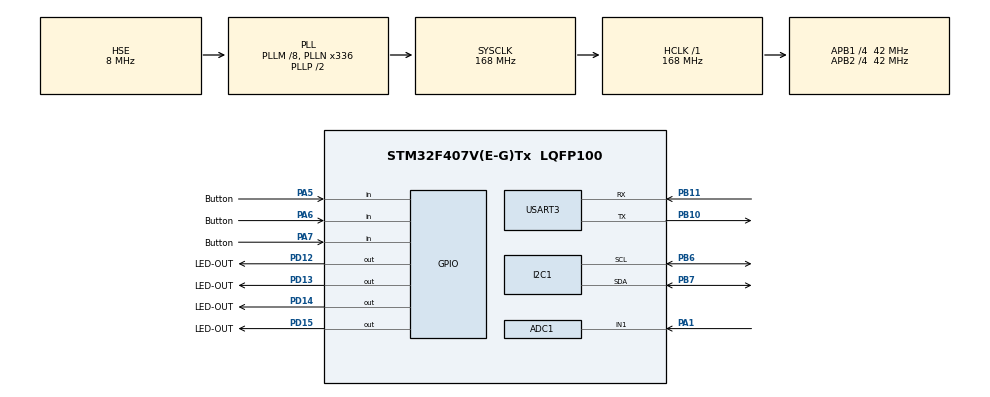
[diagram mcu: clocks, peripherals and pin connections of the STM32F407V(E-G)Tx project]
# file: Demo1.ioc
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ADC1.Channel-0\#ChannelRegularConversion=ADC_CHANNEL_1
ADC1.ClockPrescaler=ADC_CLOCK_SYNC_PCLK_DIV2
ADC1.ContinuousConvMode=DISABLE
ADC1.DMAContinuousRequests=DISABLE
ADC1.DataAlign=ADC_DATAALIGN_RIGHT
ADC1.DiscontinuousConvMode=DISABLE
ADC1.EOCSelection=ADC_EOC_SINGLE_CONV
ADC1.EnableAnalogWatchDog=false
ADC1.ExternalTrigConv=ADC_SOFTWARE_START
ADC1.ExternalTrigConvEdge=ADC_EXTERNALTRIGCONVEDGE_NONE
ADC1.InjNumberOfConversion=0
ADC1.NbrOfConversion=1
ADC1.NbrOfConversionFlag=1
ADC1.Rank-0\#ChannelRegularConversion=1
ADC1.Resolution=ADC_RESOLUTION_12B
ADC1.SamplingTime-0\#ChannelRegularConversion=ADC_SAMPLETIME_3CYCLES
ADC1.ScanConvMode=DISABLE
ADC1.master=1
Mcu.Family=STM32F4
Mcu.Name=STM32F407V(E-G)Tx
Mcu.Package=LQFP100
NVIC.I2C1_ER_IRQn=true\:0\:0\:false\:false\:true\:true
NVIC.I2C1_EV_IRQn=true\:0\:0\:false\:false\:true\:true
NVIC.PriorityGroup=NVIC_PRIORITYGROUP_4
NVIC.USART3_IRQn=true\:0\:0\:false\:false\:true\:true
PA1.Signal=ADCx_IN1
PA5.GPIO_Label=Button
PA5.GPIO_Mode=GPIO_MODE_INPUT
PA5.GPIO_PuPd=GPIO_PULLUP
PA5.Signal=GPIO_Input
PA6.GPIO_Label=Button
PA6.GPIO_Mode=GPIO_MODE_INPUT
PA6.GPIO_PuPd=GPIO_PULLUP
PA6.Signal=GPIO_Input
PA7.GPIO_Label=Button
PA7.GPIO_Mode=GPIO_MODE_INPUT
PA7.GPIO_PuPd=GPIO_PULLUP
PA7.Signal=GPIO_Input
PB10.Mode=Asynchronous
PB10.Signal=USART3_TX
PB11.Mode=Asynchronous
PB11.Signal=USART3_RX
PB6.Mode=I2C
PB6.Signal=I2C1_SCL
PB7.Mode=I2C
PB7.Signal=I2C1_SDA
PD12.GPIO_Label=LED-OUT
PD12.GPIO_ModeDefaultOutputPP=GPIO_MODE_OUTPUT_PP
PD12.GPIO_PuPd=GPIO_PULLUP
PD12.GPIO_Speed=GPIO_SPEED_FREQ_HIGH
PD12.PinState=GPIO_PIN_RESET
PD12.Signal=GPIO_Output
PD13.GPIO_Label=LED-OUT
PD13.GPIO_ModeDefaultOutputPP=GPIO_MODE_OUTPUT_PP
PD13.GPIO_PuPd=GPIO_PULLUP
PD13.GPIO_Speed=GPIO_SPEED_FREQ_HIGH
PD13.PinState=GPIO_PIN_RESET
PD13.Signal=GPIO_Output
PD14.GPIO_Label=LED-OUT
PD14.GPIO_ModeDefaultOutputPP=GPIO_MODE_OUTPUT_PP
PD14.GPIO_PuPd=GPIO_PULLUP
PD14.GPIO_Speed=GPIO_SPEED_FREQ_HIGH
PD14.PinState=GPIO_PIN_RESET
PD14.Signal=GPIO_Output
PD15.GPIO_Label=LED-OUT
PD15.GPIO_ModeDefaultOutputPP=GPIO_MODE_OUTPUT_PP
PD15.GPIO_PuPd=GPIO_PULLUP
PD15.GPIO_Speed=GPIO_SPEED_FREQ_HIGH
PD15.PinState=GPIO_PIN_RESET
PD15.Signal=GPIO_Output
PH0-OSC_IN.Mode=HSE-External-Oscillator
PH0-OSC_IN.Signal=RCC_OSC_IN
PH1-OSC_OUT.Mode=HSE-External-Oscillator
PH1-OSC_OUT.Signal=RCC_OSC_OUT
ProjectManager.HeapSize=0x200
ProjectManager.StackSize=0x400
ProjectManager.TargetToolchain=MDK-ARM V5
RCC.48MHZClocksFreq_Value=84000000
RCC.AHBFreq_Value=168000000
RCC.APB1CLKDivider=RCC_HCLK_DIV4
RCC.APB1Freq_Value=42000000
RCC.APB1TimFreq_Value=84000000
RCC.APB2CLKDivider=RCC_HCLK_DIV4
RCC.APB2Freq_Value=42000000
RCC.APB2TimFreq_Value=84000000
RCC.CortexFreq_Value=168000000
RCC.HCLKFreq_Value=168000000
RCC.HSE_VALUE=8000000
RCC.HSI_VALUE=16000000
RCC.LSE_VALUE=32768
RCC.PLLM=8
RCC.PLLN=336
RCC.PLLSourceVirtual=RCC_PLLSOURCE_HSE
RCC.SYSCLKFreq_VALUE=168000000
RCC.SYSCLKSource=RCC_SYSCLKSOURCE_PLLCLK
RCC.VCOOutputFreq_Value=336000000
SH.ADCx_IN1.0=ADC1_IN1,IN1
USART3.VirtualMode=VM_ASYNC
board=Demo1

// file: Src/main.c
#include "main.h"
#include "stm32f4xx_hal.h"
#include <string.h>

ADC_HandleTypeDef hadc1;

I2C_HandleTypeDef hi2c1;

UART_HandleTypeDef huart3;

/* USER CODE BEGIN PV */
//#########BH1750##########
		int8_t datalux[2];
    uint8_t *pBuffer;
    uint8_t Nbyte = 2;
    uint16_t lux;
	  float flevel = 0;
		int level = 0;
//#########UART############

		char UART3_Data;
		char UART_Buffer[32];
		char i = 0;
		uint8_t cplt = 0;
//#########Flash############
		uint8_t data;
		uint32_t FlashAddress= 0x080E0000;
		char seri[4];
		char readseri;
		uint8_t id = 0;
//#################################//

//* bien du lieu UART sent*//
	uint8_t a = 0;
	char* data3 = "@L1KXx";
	char* data4 = "@L1KYx";

	uint8_t b = 0;
	char* data1 = "@L2KXx";
	char* data2 = "@L2KYx";

	uint8_t c = 0;
	char* data5 = "@L3KXx";
	char* data6 = "@L3KYx";

/* USER CODE END PV */

void SystemClock_Config(void);
static void MX_GPIO_Init(void);
static void MX_ADC1_Init(void);
static void MX_I2C1_Init(void);
static void MX_USART3_UART_Init(void);

//#####Chuong trinh con dang code########//
uint32_t Read_Flash( uint32_t adress);
void Write_Flash(uint32_t add, uint8_t data);
void ReadADCControl(void);
void ReadGWControl(void);
void Button (void);
void ReadLux (void);
void save (void);

int main(void)
{

  HAL_Init();
  SystemClock_Config();

  MX_GPIO_Init();
  MX_ADC1_Init();
  MX_I2C1_Init();
  MX_USART3_UART_Init();
  HAL_UART_Receive_IT(&huart3, (uint8_t*) &UART3_Data, 1);

	__HAL_UART_ENABLE_IT(&huart3,UART_IT_TC);
	__HAL_UART_ENABLE_IT(&huart3,UART_IT_RXNE);

  while (1)
   {
		 save();
		 if(id == 1)
		 {
			 Write_Flash(0x080E0000, readseri);
			 id = 0;
		 }
		 data = Read_Flash(0x080E0000);
		 ReadLux();
		 if(cplt == 0)
		 {
			//Button();
			 HAL_Delay(100);
		 }
		 else{
			 if(data == '1'){
				 ReadGWControl();
				 HAL_Delay(1000);
				 cplt = 0;
			 }
		 }
}
	}
/** System Button Configuration*/
void Button (void)
{
	///******** read input PA3 set on ***********/
	if(HAL_GPIO_ReadPin(GPIOA,GPIO_PIN_3)==GPIO_PIN_SET && a == 0)
		{
			HAL_Delay(50);
			if(HAL_GPIO_ReadPin(GPIOA,GPIO_PIN_3)==GPIO_PIN_SET)
				{
					a = 1;
					HAL_GPIO_TogglePin(GPIOD,GPIO_PIN_15);
					while(HAL_GPIO_ReadPin(GPIOA,GPIO_PIN_3)==GPIO_PIN_SET);
					HAL_UART_Transmit_IT(&huart3, data1, 6 );
					HAL_Delay(200);
				}
		}
	///************ read input PA3 set off **************/
	if(HAL_GPIO_ReadPin(GPIOA,GPIO_PIN_3)==GPIO_PIN_SET && a == 1)
		{
			HAL_Delay(50);
			if(HAL_GPIO_ReadPin(GPIOA,GPIO_PIN_3)==GPIO_PIN_SET)
				{
					a = 0;
					HAL_GPIO_TogglePin(GPIOD,GPIO_PIN_15);
					while(HAL_GPIO_ReadPin(GPIOA,GPIO_PIN_3)==GPIO_PIN_SET);
					HAL_UART_Transmit_IT(&huart3, data2, 6 );
					HAL_Delay(200);
			}
		}
		///******** read input PA5 set on ***********/
	if(HAL_GPIO_ReadPin(GPIOA,GPIO_PIN_5)==GPIO_PIN_SET && b == 0)
		{
			HAL_Delay(50);
			if(HAL_GPIO_ReadPin(GPIOA,GPIO_PIN_5)==GPIO_PIN_SET)
				{
					b = 1;
					HAL_GPIO_TogglePin(GPIOD,GPIO_PIN_14);
					while(HAL_GPIO_ReadPin(GPIOA,GPIO_PIN_5)==GPIO_PIN_SET);
					HAL_UART_Transmit_IT(&huart3, data3, 6);
					HAL_Delay(200);
				}
		}
	///************ read input PA5 set off **************/
	if(HAL_GPIO_ReadPin(GPIOA,GPIO_PIN_5)==GPIO_PIN_SET && b == 1)
		{
			HAL_Delay(50);
			if(HAL_GPIO_ReadPin(GPIOA,GPIO_PIN_5)==GPIO_PIN_SET)
				{
					b = 0;
					HAL_GPIO_TogglePin(GPIOD,GPIO_PIN_14);
					while(HAL_GPIO_ReadPin(GPIOA,GPIO_PIN_5)==GPIO_PIN_SET);
					HAL_UART_Transmit_IT(&huart3, data4, 6 );
					HAL_Delay(200);
			}
		}
	///******** read input PA3 set on ***********/
	if(HAL_GPIO_ReadPin(GPIOA,GPIO_PIN_7)==GPIO_PIN_SET && c == 0)
		{
			HAL_Delay(50);
			if(HAL_GPIO_ReadPin(GPIOA,GPIO_PIN_7)==GPIO_PIN_SET)
				{
					c = 1;
					HAL_GPIO_TogglePin(GPIOD,GPIO_PIN_13);
					while(HAL_GPIO_ReadPin(GPIOA,GPIO_PIN_7)==GPIO_PIN_SET);
					HAL_UART_Transmit_IT(&huart3, data5, 6 );
					HAL_Delay(200);
				}
		}
	///************ read input PA3 set off **************/
	if(HAL_GPIO_ReadPin(GPIOA,GPIO_PIN_7)==GPIO_PIN_SET && c == 1)
		{
			HAL_Delay(50);
			if(HAL_GPIO_ReadPin(GPIOA,GPIO_PIN_7)==GPIO_PIN_SET)
				{
					c = 0;
					HAL_GPIO_TogglePin(GPIOD,GPIO_PIN_13);
					while(HAL_GPIO_ReadPin(GPIOA,GPIO_PIN_7)==GPIO_PIN_SET);
					HAL_UART_Transmit_IT(&huart3, data6, 6);
					HAL_Delay(200);
			}
		}
	} // dong if cua button
void ReadLux (void)
{
	 datalux[0] = BH1750_POWER_ON;
	 datalux[1] = RESET;
	 HAL_I2C_Master_Transmit(&hi2c1, BH1750_I2CADDR , datalux, 2, 100);
	 datalux[0] = BH1750_CONTINUOUS_HIGH_RES_MODE;
	 HAL_I2C_Master_Transmit(&hi2c1, BH1750_I2CADDR , datalux, 1, 100);
	 HAL_Delay(180);
	 HAL_I2C_Master_Receive(&hi2c1, BH1750_I2CADDR , datalux, 2, 100);

    lux = (datalux[0] << 8) | datalux[1];
    flevel = (float)lux/1.2; // convert to real lux
    level = (float)lux/1.2; // convert to real lux
}
void ReadGWControl(void)
{
	//@V4BXS600x
	  if( (UART_Buffer[0] == '@') &&(UART_Buffer[1] == 'L') && (UART_Buffer[2] == '1')&& (UART_Buffer[3] == 'K'))
			{
				if(UART_Buffer[4]== 'X')
				{
					HAL_GPIO_WritePin(GPIOD,GPIO_PIN_14,1);
					b = 1;
					HAL_Delay(200);

				}
				if(UART_Buffer[4]== 'Y')
				{
					HAL_GPIO_WritePin(GPIOD,GPIO_PIN_14,0);
					b =  0;
					HAL_Delay(200);

				}
			}
		if( (UART_Buffer[0] == '@') &&(UART_Buffer[5] == 'L') && (UART_Buffer[6] == '2')&& (UART_Buffer[7] == 'K'))
			{
				if(UART_Buffer[8]== 'X')
				{
					HAL_GPIO_WritePin(GPIOD,GPIO_PIN_15,1);
					a = 1;
					HAL_Delay(200);

				}
				if(UART_Buffer[8]== 'Y')
				{
					HAL_GPIO_WritePin(GPIOD,GPIO_PIN_15,0);
					a = 0;
					HAL_Delay(200);

				}
			}
	  if( (UART_Buffer[0] == '@') &&(UART_Buffer[9] == 'L') && (UART_Buffer[10] == '3')&& (UART_Buffer[11] == 'K'))
			{
				if(UART_Buffer[12]== 'X')
				{
					HAL_GPIO_WritePin(GPIOD,GPIO_PIN_13,1);
					c = 1;
					HAL_Delay(200);

				}
				if(UART_Buffer[12]== 'Y')
				{
					HAL_GPIO_WritePin(GPIOD,GPIO_PIN_13,0);
					c = 0;
					HAL_Delay(200);

				}
			}
}
void HAL_UART_RxCpltCallback(UART_HandleTypeDef *huart){
  if(huart->Instance == USART3){
	 UART_Buffer[i] = UART3_Data;
  if(UART3_Data != '\n'){
		if(UART_Buffer[0] == '@'){
		 UART_Buffer[i] = UART3_Data;
		 i++;
			}
		}
  if(UART3_Data == 'x'){
   i = 0;
   }
   cplt = 1;
   HAL_UART_Receive_IT(&huart3, (uint8_t*) &UART3_Data, 1);
  }
}
/** System Clock Configuration
*/
void save(void)
{
	if(UART_Buffer[1] == 'S')
	{
		seri[0] = '@';
		seri[1] = 'S';
		seri[2] = UART_Buffer[2];
		seri[3] = UART_Buffer[3];
		if(seri[3] == '1')
		{
			readseri = '1';
			id = 1;
		}
		else{
			readseri = '0';
			id = 1;
		}
	}
}

void Write_Flash(uint32_t add, uint8_t data)
{
     HAL_FLASH_Unlock();
     __HAL_FLASH_CLEAR_FLAG(FLASH_FLAG_EOP | FLASH_FLAG_OPERR | FLASH_FLAG_WRPERR | FLASH_FLAG_PGAERR | FLASH_FLAG_PGSERR );
     FLASH_Erase_Sector(FLASH_SECTOR_11, VOLTAGE_RANGE_3);
     HAL_FLASH_Program(TYPEPROGRAM_WORD, FlashAddress, data);
     HAL_FLASH_Lock();
}

uint32_t Read_Flash( uint32_t adress)
{
	uint32_t data_flash;
	data_flash = *(uint32_t*)adress;

return data_flash;

}

void SystemClock_Config(void)
{

  RCC_OscInitTypeDef RCC_OscInitStruct;
  RCC_ClkInitTypeDef RCC_ClkInitStruct;

    /**Configure the main internal regulator output voltage
    */
  __HAL_RCC_PWR_CLK_ENABLE();

  __HAL_PWR_VOLTAGESCALING_CONFIG(PWR_REGULATOR_VOLTAGE_SCALE1);

    /**Initializes the CPU, AHB and APB busses clocks
    */
  RCC_OscInitStruct.OscillatorType = RCC_OSCILLATORTYPE_HSE;
  RCC_OscInitStruct.HSEState = RCC_HSE_ON;
  RCC_OscInitStruct.PLL.PLLState = RCC_PLL_ON;
  RCC_OscInitStruct.PLL.PLLSource = RCC_PLLSOURCE_HSE;
  RCC_OscInitStruct.PLL.PLLM = 8;
  RCC_OscInitStruct.PLL.PLLN = 336;
  RCC_OscInitStruct.PLL.PLLP = RCC_PLLP_DIV2;
  RCC_OscInitStruct.PLL.PLLQ = 4;
  if (HAL_RCC_OscConfig(&RCC_OscInitStruct) != HAL_OK)
  {
    _Error_Handler(__FILE__, __LINE__);
  }

    /**Initializes the CPU, AHB and APB busses clocks
    */
  RCC_ClkInitStruct.ClockType = RCC_CLOCKTYPE_HCLK|RCC_CLOCKTYPE_SYSCLK
                              |RCC_CLOCKTYPE_PCLK1|RCC_CLOCKTYPE_PCLK2;
  RCC_ClkInitStruct.SYSCLKSource = RCC_SYSCLKSOURCE_PLLCLK;
  RCC_ClkInitStruct.AHBCLKDivider = RCC_SYSCLK_DIV1;
  RCC_ClkInitStruct.APB1CLKDivider = RCC_HCLK_DIV4;
  RCC_ClkInitStruct.APB2CLKDivider = RCC_HCLK_DIV4;

  if (HAL_RCC_ClockConfig(&RCC_ClkInitStruct, FLASH_LATENCY_5) != HAL_OK)
  {
    _Error_Handler(__FILE__, __LINE__);
  }

    /**Configure the Systick interrupt time
    */
  HAL_SYSTICK_Config(HAL_RCC_GetHCLKFreq()/1000);

    /**Configure the Systick
    */
  HAL_SYSTICK_CLKSourceConfig(SYSTICK_CLKSOURCE_HCLK);

  /* SysTick_IRQn interrupt configuration */
  HAL_NVIC_SetPriority(SysTick_IRQn, 0, 0);
}

/* ADC1 init function */
static void MX_ADC1_Init(void)
{

  ADC_ChannelConfTypeDef sConfig;

    /**Configure the global features of the ADC (Clock, Resolution, Data Alignment and number of conversion)
    */
  hadc1.Instance = ADC1;
  hadc1.Init.ClockPrescaler = ADC_CLOCK_SYNC_PCLK_DIV2;
  hadc1.Init.Resolution = ADC_RESOLUTION_12B;
  hadc1.Init.ScanConvMode = DISABLE;
  hadc1.Init.ContinuousConvMode = DISABLE;
  hadc1.Init.DiscontinuousConvMode = DISABLE;
  hadc1.Init.ExternalTrigConvEdge = ADC_EXTERNALTRIGCONVEDGE_NONE;
  hadc1.Init.ExternalTrigConv = ADC_SOFTWARE_START;
  hadc1.Init.DataAlign = ADC_DATAALIGN_RIGHT;
  hadc1.Init.NbrOfConversion = 1;
  hadc1.Init.DMAContinuousRequests = DISABLE;
  hadc1.Init.EOCSelection = ADC_EOC_SINGLE_CONV;
  if (HAL_ADC_Init(&hadc1) != HAL_OK)
  {
    _Error_Handler(__FILE__, __LINE__);
  }

    /**Configure for the selected ADC regular channel its corresponding rank in the sequencer and its sample time.
    */
  sConfig.Channel = ADC_CHANNEL_1;
  sConfig.Rank = 1;
  sConfig.SamplingTime = ADC_SAMPLETIME_3CYCLES;
  if (HAL_ADC_ConfigChannel(&hadc1, &sConfig) != HAL_OK)
  {
    _Error_Handler(__FILE__, __LINE__);
  }

}

/* I2C1 init function */
static void MX_I2C1_Init(void)
{

  hi2c1.Instance = I2C1;
  hi2c1.Init.ClockSpeed = 100000;
  hi2c1.Init.DutyCycle = I2C_DUTYCYCLE_2;
  hi2c1.Init.OwnAddress1 = 0;
  hi2c1.Init.AddressingMode = I2C_ADDRESSINGMODE_7BIT;
  hi2c1.Init.DualAddressMode = I2C_DUALADDRESS_DISABLE;
  hi2c1.Init.OwnAddress2 = 0;
  hi2c1.Init.GeneralCallMode = I2C_GENERALCALL_DISABLE;
  hi2c1.Init.NoStretchMode = I2C_NOSTRETCH_DISABLE;
  if (HAL_I2C_Init(&hi2c1) != HAL_OK)
  {
    _Error_Handler(__FILE__, __LINE__);
  }

}

/* USART3 init function */
static void MX_USART3_UART_Init(void)
{

  huart3.Instance = USART3;
  huart3.Init.BaudRate = 115200;
  huart3.Init.WordLength = UART_WORDLENGTH_8B;
  huart3.Init.StopBits = UART_STOPBITS_1;
  huart3.Init.Parity = UART_PARITY_NONE;
  huart3.Init.Mode = UART_MODE_TX_RX;
  huart3.Init.HwFlowCtl = UART_HWCONTROL_NONE;
  huart3.Init.OverSampling = UART_OVERSAMPLING_16;
  if (HAL_UART_Init(&huart3) != HAL_OK)
  {
    _Error_Handler(__FILE__, __LINE__);
  }

}

/** Configure pins as
        * Analog
        * Input
        * Output
        * EVENT_OUT
        * EXTI
*/
static void MX_GPIO_Init(void)
{

  GPIO_InitTypeDef GPIO_InitStruct;

  /* GPIO Ports Clock Enable */
  __HAL_RCC_GPIOH_CLK_ENABLE();
  __HAL_RCC_GPIOA_CLK_ENABLE();
  __HAL_RCC_GPIOB_CLK_ENABLE();
  __HAL_RCC_GPIOD_CLK_ENABLE();

  /*Configure GPIO pin Output Level */
  HAL_GPIO_WritePin(GPIOD, LED_OUT_Pin|LED_OUTD13_Pin|LED_OUTD14_Pin|LED_OUTD15_Pin, GPIO_PIN_RESET);

  /*Configure GPIO pins : Button_Pin ButtonA6_Pin ButtonA7_Pin */
  GPIO_InitStruct.Pin = Button_Pin|ButtonA6_Pin|ButtonA7_Pin;
  GPIO_InitStruct.Mode = GPIO_MODE_INPUT;
  GPIO_InitStruct.Pull = GPIO_PULLUP;
  HAL_GPIO_Init(GPIOA, &GPIO_InitStruct);

  /*Configure GPIO pins : LED_OUT_Pin LED_OUTD13_Pin LED_OUTD14_Pin LED_OUTD15_Pin */
  GPIO_InitStruct.Pin = LED_OUT_Pin|LED_OUTD13_Pin|LED_OUTD14_Pin|LED_OUTD15_Pin;
  GPIO_InitStruct.Mode = GPIO_MODE_OUTPUT_PP;
  GPIO_InitStruct.Pull = GPIO_PULLUP;
  GPIO_InitStruct.Speed = GPIO_SPEED_FREQ_HIGH;
  HAL_GPIO_Init(GPIOD, &GPIO_InitStruct);

}

void _Error_Handler(char * file, int line)
{
  while(1)
  {
  }
}

/************************ (C) COPYRIGHT STMicroelectronics *****END OF FILE****/
